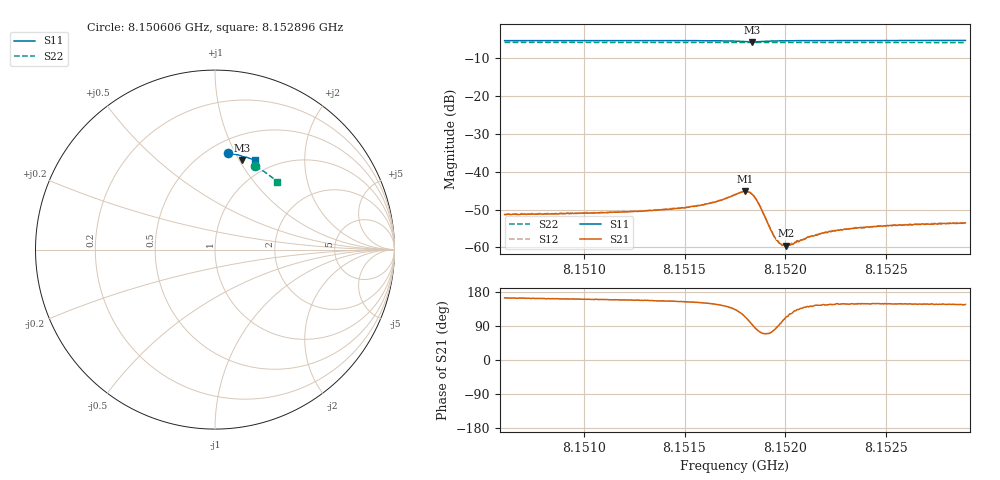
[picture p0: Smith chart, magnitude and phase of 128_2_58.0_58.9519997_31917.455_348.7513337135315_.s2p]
#  HZ  S  RI  R  50.00
! Rohde & Schwarz Vector Network Analyzer
! Rohde-Schwarz,ZNB20-2Port,1311601062101988,3.16
! Created: UTC 3/21/2024, 12:56:00 AM
! freq[Hz]  re:S11  im:S11  re:S21  im:S21  re:S12  im:S12  re:S22  im:S22
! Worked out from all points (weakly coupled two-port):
!   401 points, 8.150606 GHz to 8.152896 GHz, reference 50 ohm
!   highest |S21| = -45.18 dB at 8.151802 GHz (marker M1); lowest = -59.6 dB at 8.152003 GHz (marker M2)
!   lowest |S11| = -5.6 dB at 8.151837 GHz (marker M3), VSWR 3.18, Z = 37.6 + j51.6 ohm
!   |S11| at or under -10 dB: nowhere
!   |S22| runs from -5.8 to -5.8 dB; largest |S21 - S12| = 0.00012
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8.1506058e9  0.0749 0.5367  -0.00262 0.000749  -0.00261 0.000783  0.2249 0.463
8.1509894e9  0.102 0.5328  -0.00265 0.000953  -0.00267 0.000975  0.2469 0.4512
8.151373e9  0.1295 0.527  -0.00288 0.00128  -0.00288 0.00133  0.268 0.4383
8.1515104e9  0.1399 0.5241  -0.00302 0.00151  -0.00304 0.00155  0.2753 0.4334
8.1515848e9  0.1459 0.522  -0.00319 0.00175  -0.00319 0.00181  0.2795 0.4308
8.1516764e9  0.1539 0.518  -0.00342 0.00238  -0.00341 0.00244  0.2843 0.4275
8.1517508e9  0.16 0.5105  -0.00338 0.00362  -0.00336 0.00374  0.2881 0.4244
8.1518024e9  0.1589 0.5019  -0.00217 0.00507  -0.00209 0.0051  0.2905 0.4223
8.1518195e9  0.156 0.4996  -0.00124 0.00525  -0.0012 0.00529  0.2913 0.4217
8.1518367e9  0.1521 0.4994  -0.000272 0.00502  -0.000181 0.00508  0.292 0.421
8.1518539e9  0.1488 0.5015  0.000566 0.00439  0.000582 0.00441  0.2927 0.4205
8.1518711e9  0.1471 0.5047  0.000956 0.00357  0.000994 0.00358  0.2936 0.4201
8.151934e9  0.1518 0.5137  0.00044 0.00155  0.000437 0.00159  0.297 0.418
8.1519512e9  0.154 0.5148  0.000187 0.00133  0.000212 0.00131  0.298 0.4175
8.1519798e9  0.1573 0.5158  -0.000148 0.0011  -0.000141 0.00109  0.2994 0.4165
8.1520027e9  0.1598 0.516  -0.0004 0.000974  -0.000378 0.000972  0.3005 0.4155
8.1520314e9  0.1628 0.5159  -0.000591 0.000934  -0.000639 0.000944  0.3022 0.4144
8.1521344e9  0.172 0.5149  -0.0011 0.000884  -0.00113 0.000894  0.3076 0.4105
8.1522432e9  0.1806 0.5127  -0.00139 0.000913  -0.0014 0.000892  0.313 0.4061
8.1523577e9  0.1889 0.5102  -0.00154 0.000969  -0.00153 0.000954  0.3189 0.4014
8.152518e9  0.1999 0.5064  -0.00166 0.00103  -0.00163 0.00103  0.3266 0.3947
8.1528959e9  0.2252 0.4965  -0.00177 0.00116  -0.00175 0.00119  0.3444 0.3786
